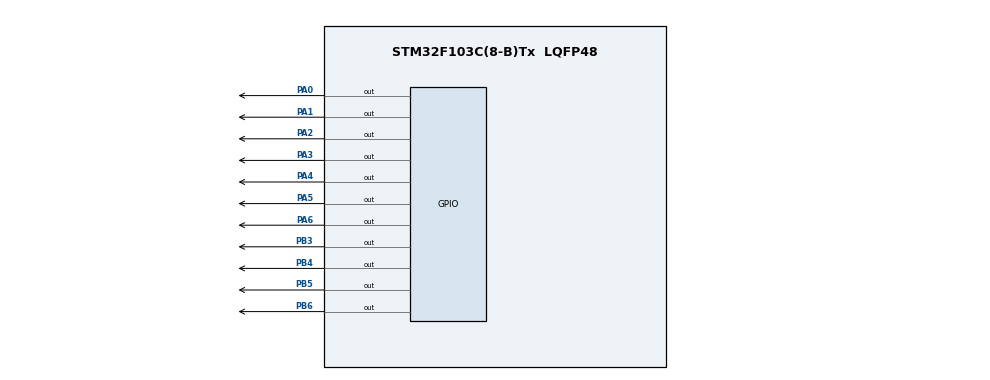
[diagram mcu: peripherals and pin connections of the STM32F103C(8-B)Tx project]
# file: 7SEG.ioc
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Mcu.Family=STM32F1
Mcu.Name=STM32F103C(8-B)Tx
Mcu.Package=LQFP48
NVIC.PriorityGroup=NVIC_PRIORITYGROUP_4
PA0-WKUP.GPIO_PuPd=GPIO_PULLUP
PA0-WKUP.Signal=GPIO_Output
PA1.GPIO_PuPd=GPIO_PULLUP
PA1.Signal=GPIO_Output
PA13.Mode=Serial_Wire
PA13.Signal=SYS_JTMS-SWDIO
PA14.Mode=Serial_Wire
PA14.Signal=SYS_JTCK-SWCLK
PA2.GPIO_PuPd=GPIO_PULLUP
PA2.Signal=GPIO_Output
PA3.GPIO_PuPd=GPIO_PULLUP
PA3.Signal=GPIO_Output
PA4.GPIO_PuPd=GPIO_PULLUP
PA4.Signal=GPIO_Output
PA5.GPIO_PuPd=GPIO_PULLUP
PA5.Signal=GPIO_Output
PA6.GPIO_PuPd=GPIO_PULLUP
PA6.Signal=GPIO_Output
PB3.GPIO_PuPd=GPIO_PULLUP
PB3.Signal=GPIO_Output
PB4.GPIO_PuPd=GPIO_PULLUP
PB4.Signal=GPIO_Output
PB5.GPIO_PuPd=GPIO_PULLUP
PB5.PinState=GPIO_PIN_RESET
PB5.Signal=GPIO_Output
PB6.GPIO_PuPd=GPIO_PULLUP
PB6.PinState=GPIO_PIN_RESET
PB6.Signal=GPIO_Output
ProjectManager.HeapSize=0x200
ProjectManager.StackSize=0x400
ProjectManager.TargetToolchain=MDK-ARM V5.32
RCC.APB1Freq_Value=8000000
RCC.APB2Freq_Value=8000000
board=custom

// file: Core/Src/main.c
/* USER CODE BEGIN Header */
/**
  ******************************************************************************
  * @file           : main.c
  * @brief          : Main program body
  ******************************************************************************
  * @attention
  *
  * Copyright (c) 2023 STMicroelectronics.
  * All rights reserved.
  *
  * This software is licensed under terms that can be found in the LICENSE file
  * in the root directory of this software component.
  * If no LICENSE file comes with this software, it is provided AS-IS.
  *
  ******************************************************************************
  */
/* USER CODE END Header */
#include "main.h"
#include "LED7SEG.h"

/* USER CODE BEGIN PV */
LED7SEG_Device_Name LED7;
LED7SEG_Num LED_TEMP;
/* USER CODE END PV */

void SystemClock_Config(void);
static void MX_GPIO_Init(void);

int main(void)
{

  /* MCU Configuration--------------------------------------------------------*/

  /* Reset of all peripherals, Initializes the Flash interface and the Systick. */
  HAL_Init();

  /* Configure the system clock */
  SystemClock_Config();

  /* Initialize all configured peripherals */
  MX_GPIO_Init();
  /* USER CODE BEGIN 2 */
	LED7SEG_Init(&LED7, ANODE,
	GPIOA,GPIO_PIN_0,
	GPIOA,GPIO_PIN_1,
	GPIOA,GPIO_PIN_2,
	GPIOA,GPIO_PIN_3,
	GPIOA,GPIO_PIN_4,
	GPIOA,GPIO_PIN_5,
	GPIOA,GPIO_PIN_6,
	GPIOA,GPIO_PIN_7);
	LED7SEG_InitScan(&LED_TEMP,
	GPIOB, GPIO_PIN_3,
	GPIOB, GPIO_PIN_4,
	GPIOB, GPIO_PIN_5,
	GPIOB, GPIO_PIN_6);
  /* USER CODE END 2 */

  /* Infinite loop */
  while (1)
  {
		LED7SEG_Scan4Led(&LED_TEMP, &LED7,9999);
  }
}

void SystemClock_Config(void)
{
  RCC_OscInitTypeDef RCC_OscInitStruct = {0};
  RCC_ClkInitTypeDef RCC_ClkInitStruct = {0};

  /** Initializes the RCC Oscillators according to the specified parameters
  * in the RCC_OscInitTypeDef structure.
  */
  RCC_OscInitStruct.OscillatorType = RCC_OSCILLATORTYPE_HSI;
  RCC_OscInitStruct.HSIState = RCC_HSI_ON;
  RCC_OscInitStruct.HSICalibrationValue = RCC_HSICALIBRATION_DEFAULT;
  RCC_OscInitStruct.PLL.PLLState = RCC_PLL_NONE;
  if (HAL_RCC_OscConfig(&RCC_OscInitStruct) != HAL_OK)
  {
    Error_Handler();
  }

  /** Initializes the CPU, AHB and APB buses clocks
  */
  RCC_ClkInitStruct.ClockType = RCC_CLOCKTYPE_HCLK|RCC_CLOCKTYPE_SYSCLK
                              |RCC_CLOCKTYPE_PCLK1|RCC_CLOCKTYPE_PCLK2;
  RCC_ClkInitStruct.SYSCLKSource = RCC_SYSCLKSOURCE_HSI;
  RCC_ClkInitStruct.AHBCLKDivider = RCC_SYSCLK_DIV1;
  RCC_ClkInitStruct.APB1CLKDivider = RCC_HCLK_DIV1;
  RCC_ClkInitStruct.APB2CLKDivider = RCC_HCLK_DIV1;

  if (HAL_RCC_ClockConfig(&RCC_ClkInitStruct, FLASH_LATENCY_0) != HAL_OK)
  {
    Error_Handler();
  }
}

static void MX_GPIO_Init(void)
{
  GPIO_InitTypeDef GPIO_InitStruct = {0};

  /* GPIO Ports Clock Enable */
  __HAL_RCC_GPIOA_CLK_ENABLE();
  __HAL_RCC_GPIOB_CLK_ENABLE();

  /*Configure GPIO pin Output Level */
  HAL_GPIO_WritePin(GPIOA, GPIO_PIN_0|GPIO_PIN_1|GPIO_PIN_2|GPIO_PIN_3
                          |GPIO_PIN_4|GPIO_PIN_5|GPIO_PIN_6, GPIO_PIN_RESET);

  /*Configure GPIO pin Output Level */
  HAL_GPIO_WritePin(GPIOB, GPIO_PIN_3|GPIO_PIN_4|GPIO_PIN_5|GPIO_PIN_6, GPIO_PIN_RESET);

  /*Configure GPIO pins : PA0 PA1 PA2 PA3
                           PA4 PA5 PA6 */
  GPIO_InitStruct.Pin = GPIO_PIN_0|GPIO_PIN_1|GPIO_PIN_2|GPIO_PIN_3
                          |GPIO_PIN_4|GPIO_PIN_5|GPIO_PIN_6;
  GPIO_InitStruct.Mode = GPIO_MODE_OUTPUT_PP;
  GPIO_InitStruct.Pull = GPIO_PULLUP;
  GPIO_InitStruct.Speed = GPIO_SPEED_FREQ_LOW;
  HAL_GPIO_Init(GPIOA, &GPIO_InitStruct);

  /*Configure GPIO pins : PB3 PB4 PB5 PB6 */
  GPIO_InitStruct.Pin = GPIO_PIN_3|GPIO_PIN_4|GPIO_PIN_5|GPIO_PIN_6;
  GPIO_InitStruct.Mode = GPIO_MODE_OUTPUT_PP;
  GPIO_InitStruct.Pull = GPIO_PULLUP;
  GPIO_InitStruct.Speed = GPIO_SPEED_FREQ_LOW;
  HAL_GPIO_Init(GPIOB, &GPIO_InitStruct);

}

void Error_Handler(void)
{
  __disable_irq();
  while (1)
  {
  }
}
